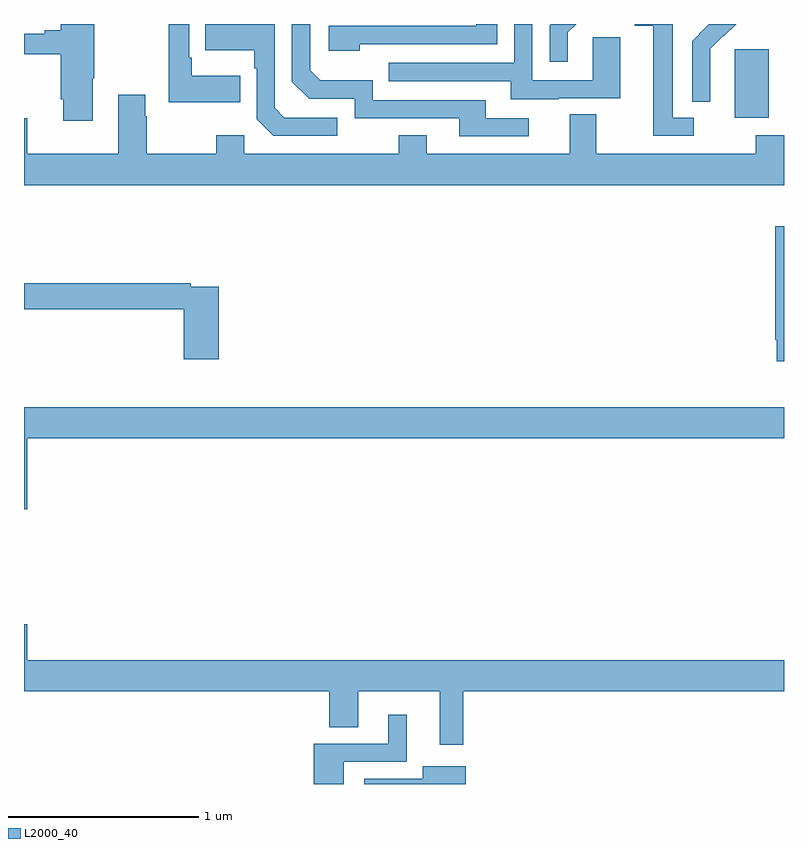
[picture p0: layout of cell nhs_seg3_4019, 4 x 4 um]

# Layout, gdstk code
import gdstk
lib = gdstk.Library(unit=1e-6, precision=1e-09)
def R(c, l, rs):  # rectangles x0, y0, x1, y1
    for r in rs: c.add(gdstk.rectangle(r[:2], r[2:], *l))
def P(c, l, *ps):  # polygons
    for p in ps: c.add(gdstk.Polygon(p, *l))
L2000_40 = (2000, 40)

nhs_seg3_4019 = lib.new_cell('nhs_seg3_4019')
R(nhs_seg3_4019, L2000_40, [(324.74,731.906,324.919,732.267)])
P(nhs_seg3_4019, L2000_40, [(322.139,732.127),(321.883,732.127),(321.883,732.223),(321.87,732.223),(321.87,732.4),(321.762,732.4),(321.762,731.987),(322.139,731.987)],
  [(324.612,732.146),(324.611,732.146),(324.611,732.269),(324.681,732.339),(324.684,732.336),(324.748,732.4),(324.604,732.4),(324.588,732.384),(324.589,732.383),(324.516,732.31),(324.516,731.992),(324.612,731.992)],
  [(322.766,732.294),(323.49,732.294),(323.49,732.4),(323.381,732.4),(323.381,732.39),(322.605,732.39),(322.605,732.26),(322.766,732.26)],
  [(323.656,731.904),(323.431,731.904),(323.431,732),(322.836,732),(322.836,732.103),(322.559,732.103),(322.506,732.156),(322.506,732.4),(322.41,732.4),(322.41,732.096),(322.5,732.006),(322.74,732.006),(322.74,731.904),(323.291,731.904),(323.291,731.808),(323.656,731.808)],
  [(322.648,731.907),(322.371,731.907),(322.32,731.958),(322.32,732.4),(321.955,732.4),(321.955,732.263),(322.212,732.263),(322.212,732.167),(322.224,732.167),(322.224,731.898),(322.311,731.811),(322.648,731.811)],
  [(323.815,732.009),(324.139,732.009),(324.139,732.329),(323.994,732.329),(323.994,732.105),(323.676,732.105),(323.676,732.4),(323.58,732.4),(323.58,732.195),(322.921,732.195),(322.921,732.099),(323.561,732.099),(323.561,732.005),(323.815,732.005)],
  [(324.526,731.907),(324.415,731.907),(324.415,732.4),(324.215,732.4),(324.215,732.392),(324.311,732.392),(324.311,731.811),(324.526,731.811)],
  [(323.863,732.357),(323.906,732.4),(323.772,732.4),(323.766,732.394),(323.766,732.201),(323.863,732.201)],
  [(321.361,732.115),(321.369,732.115),(321.369,732.4),(321.194,732.4),(321.194,732.368),(321.11,732.368),(321.11,732.349),(321,732.349),(321,732.24),(321.194,732.24),(321.194,732.004),(321.206,732.004),(321.206,731.892),(321.361,731.892)],
  [(325,731.815),(324.85,731.815),(324.85,731.716),(324.013,731.716),(324.013,731.924),(323.873,731.924),(323.873,731.716),(323.119,731.716),(323.119,731.815),(322.972,731.815),(322.972,731.716),(322.158,731.716),(322.158,731.815),(322.012,731.815),(322.012,731.716),(321.645,731.716),(321.645,731.915),(321.637,731.915),(321.637,732.028),(321.497,732.028),(321.497,731.716),(321.016,731.716),(321.016,731.905),(321,731.905),(321,731.552),(325,731.552)],
  [(325,731.336),(324.955,731.336),(324.955,730.738),(324.963,730.738),(324.963,730.626),(325,730.626)],
  [(322.025,731.016),(321.878,731.016),(321.878,731.036),(321,731.036),(321,730.9),(321.842,730.9),(321.842,730.635),(322.025,730.635)],
  [(321.016,730.22),(325,730.22),(325,730.384),(321,730.384),(321,729.846),(321.016,729.846)],
  [(323.311,728.888),(325,728.888),(325,729.052),(321.016,729.052),(321.016,729.241),(321,729.241),(321,728.888),(322.607,728.888),(322.607,728.698),(322.759,728.698),(322.759,728.888),(323.189,728.888),(323.189,728.607),(323.311,728.607)],
  [(322.684,728.517),(323.014,728.517),(323.014,728.764),(322.916,728.764),(322.916,728.613),(322.526,728.613),(322.526,728.4),(322.684,728.4)],
  [(323.325,728.494),(323.099,728.494),(323.099,728.427),(322.791,728.427),(322.791,728.4),(323.325,728.4)])

lib.write_gds('nhs_seg3_4019.gds')
